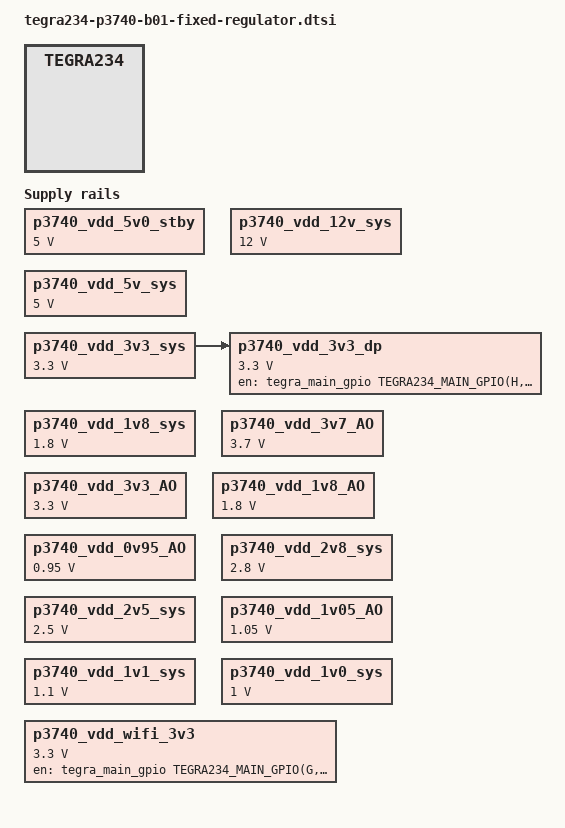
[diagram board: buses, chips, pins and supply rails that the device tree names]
/*
 * Copyright (c) 2022, NVIDIA CORPORATION.  All rights reserved.
 *
 * This program is free software; you can redistribute it and/or modify
 * it under the terms of the GNU General Public License as published by
 * the Free Software Foundation; either version 2 of the License, or
 * (at your option) any later version.
 *
 * This program is distributed in the hope that it will be useful, but WITHOUT
 * ANY WARRANTY; without even the implied warranty of MERCHANTABILITY or
 * FITNESS FOR A PARTICULAR PURPOSE.  See the GNU General Public License for
 * more details.
 */

#include <dt-bindings/gpio/tegra234-gpio.h>
/ {
	fixed-regulators {
		p3740_vdd_5v0_stby: battery_reg: regulator@0 {
			compatible = "regulator-fixed";
			reg = <0>;
			regulator-name = "vdd-ac-bat";
			regulator-min-microvolt = <5000000>;
			regulator-max-microvolt = <5000000>;
			regulator-always-on;
		};
		p3740_vdd_12v_sys: regulator@100 {
			compatible = "regulator-fixed";
			reg = <100>;
			regulator-name = "vdd-12v-sys";
			regulator-min-microvolt = <12000000>;
			regulator-max-microvolt = <12000000>;
		};
		p3740_vdd_5v_sys: vdd_5v_sys: regulator@101 {
			compatible = "regulator-fixed";
			reg = <101>;
			regulator-name = "vdd-5v-sys";
			regulator-min-microvolt = <5000000>;
			regulator-max-microvolt = <5000000>;
		};
		p3740_vdd_3v3_sys: vdd_3v3_sys: regulator@102 {
			compatible = "regulator-fixed";
			reg = <102>;
			regulator-name = "vdd-3v3-sys";
			regulator-min-microvolt = <3300000>;
			regulator-max-microvolt = <3300000>;
		};
		p3740_vdd_1v8_sys: regulator@103 {
			compatible = "regulator-fixed";
			reg = <103>;
			regulator-name = "vdd-1v8-sys";
			regulator-min-microvolt = <1800000>;
			regulator-max-microvolt = <1800000>;
		};
		p3740_vdd_3v7_AO: regulator@104 {
			compatible = "regulator-fixed";
			reg = <104>;
			regulator-name = "vdd-3v7-AO";
			regulator-min-microvolt = <3700000>;
			regulator-max-microvolt = <3700000>;
		};
		p3740_vdd_3v3_AO: regulator@105 {
			compatible = "regulator-fixed";
			reg = <105>;
			regulator-name = "vdd-3v3-AO";
			regulator-min-microvolt = <3300000>;
			regulator-max-microvolt = <3300000>;
		};
		p3740_vdd_1v8_AO: regulator@106 {
			compatible = "regulator-fixed";
			reg = <106>;
			regulator-name = "vdd-1v8-AO";
			regulator-min-microvolt = <1800000>;
			regulator-max-microvolt = <1800000>;
		};
		p3740_vdd_0v95_AO: regulator@107 {
			compatible = "regulator-fixed";
			reg = <107>;
			regulator-name = "vdd-0v95-AO";
			regulator-min-microvolt = <950000>;
			regulator-max-microvolt = <950000>;
		};
		p3740_vdd_2v8_sys: regulator@108 {
			compatible = "regulator-fixed";
			reg = <108>;
			regulator-name = "vdd-2v8-sys";
			regulator-min-microvolt = <2800000>;
			regulator-max-microvolt = <2800000>;
		};
		p3740_vdd_2v5_sys: regulator@109 {
			compatible = "regulator-fixed";
			reg = <109>;
			regulator-name = "vdd-2v5-sys";
			regulator-min-microvolt = <2500000>;
			regulator-max-microvolt = <2500000>;
		};
		p3740_vdd_1v05_AO: regulator@110 {
			compatible = "regulator-fixed";
			reg = <110>;
			regulator-name = "vdd-1v05-AO";
			regulator-min-microvolt = <1050000>;
			regulator-max-microvolt = <1050000>;
		};
		p3740_vdd_1v1_sys: regulator@111 {
			compatible = "regulator-fixed";
			reg = <111>;
			regulator-name = "vdd-1v1-sys";
			regulator-min-microvolt = <1100000>;
			regulator-max-microvolt = <1100000>;
		};
		p3740_vdd_1v0_sys: regulator@112 {
			compatible = "regulator-fixed";
			reg = <112>;
			regulator-name = "vdd-1v0-sys";
			regulator-min-microvolt = <1000000>;
			regulator-max-microvolt = <1000000>;
		};
		p3740_vdd_3v3_dp: regulator@114 {
			compatible = "regulator-fixed";
			reg = <114>;
			regulator-name = "vdd-3v3-dp";
			regulator-min-microvolt = <3300000>;
			regulator-max-microvolt = <3300000>;
			vin-supply = <&p3740_vdd_3v3_sys>;
			gpio = <&tegra_main_gpio TEGRA234_MAIN_GPIO(H, 6) 0>;
			enable-active-high;
			regulator-always-on; /* Keeping always-on for bringup */
		};
		p3740_vdd_wifi_3v3: regulator@115 {
			compatible = "regulator-fixed";
			reg = <115>;
			regulator-name = "vdd_wifi_3v3";
			regulator-min-microvolt = <3300000>;
			regulator-max-microvolt = <3300000>;
			gpio = <&tegra_main_gpio TEGRA234_MAIN_GPIO(G, 3) GPIO_ACTIVE_HIGH>;
			regulator-boot-on;
			enable-active-high;
		};
	};
};
